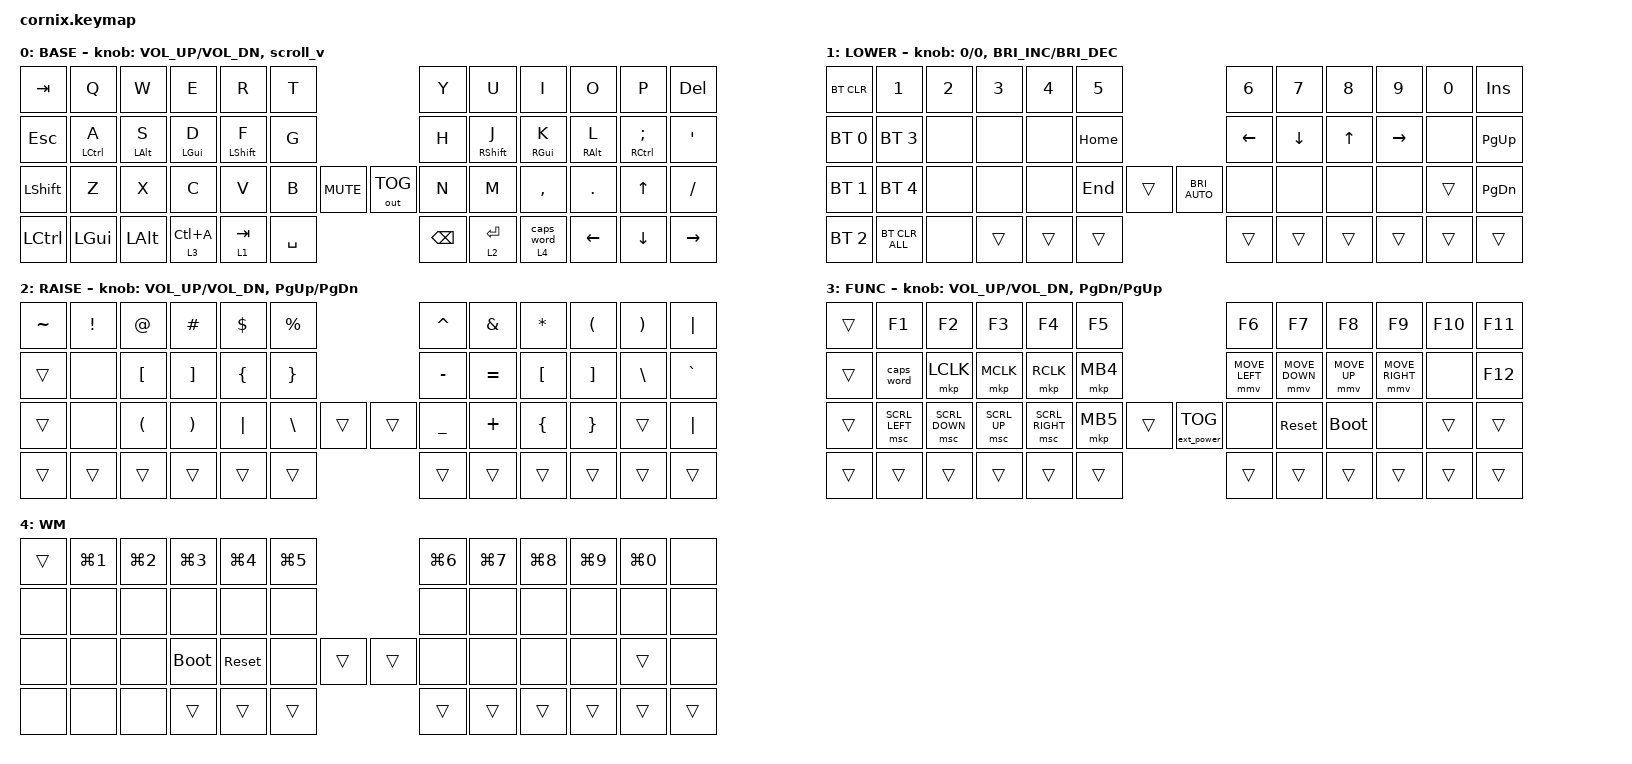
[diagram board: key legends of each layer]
/*
 * Copyright (c) 2020 The ZMK Contributors
 *
 * SPDX-License-Identifier: MIT
 */

#include "zmk-helpers/helper.h"
#include "includes/cornix54.h"

// tap windows for ctl alt and gui

#define HM_TAPPING_TERM 250
#define HM_TAPPING_REPEAT 210

// quick tapping for shift

#define HM_TAPPING_TERM_FAST 200
#define HM_PRIOR_IDLE 70
#define BASE 0
#define WIN 1
#define LOWER 2
#define RAISE 3
#define ADJUST 4
#define NAVI   5
#define NUM    6
#define DEBUG  7

// https://github.com/urob/zmk-config/tree/main#timeless-homerow-mods

#define KEYS_L LT0 LT1 LT2 LT3 LT4 LT5 LM0 LM1 LM2 LM3 LM4 LM5 LB0 LB1 LB2 LB3 LB4 LB5  // left hand
#define KEYS_R RT0 RT1 RT2 RT3 RT4 RT5 RM0 RM1 RM2 RM3 RM4 RM5 RB0 RB1 RB2 RB3 RB4 RB5  // right hand
#define THUMBS LH1 LH0 RH0 RH1
#define KEYS_T LH1 LH0 RH0 RH1
#define ZMK_POINTING_DEFAULT_SCRL_VAL 30
#define ZMK_POINTING_DEFAULT_MOVE_VAL 600

#include <behaviors.dtsi>
#include <dt-bindings/zmk/bt.h>
#include <dt-bindings/zmk/ext_power.h>
#include <dt-bindings/zmk/keys.h>
#include <dt-bindings/zmk/outputs.h>
#include <dt-bindings/zmk/pointing.h>

/ {
    // Activate ADJUST layer by pressing raise and lower

    behaviors {
        hm_l: homerow_mods_left {
            compatible = "zmk,behavior-hold-tap";
            #binding-cells = <2>;
            bindings = <&kp>, <&kp>;

            flavor = "balanced";
            tapping-term-ms = <HM_TAPPING_TERM>;
            quick-tap-ms = <150>;                // repeat on tap-into-hold
            require-prior-idle-ms = <HM_PRIOR_IDLE>;
            hold-trigger-key-positions = <KEYS_R KEYS_T>;
            hold-trigger-on-release;
        };

        hm_r: homerow_mods_right {
            compatible = "zmk,behavior-hold-tap";
            #binding-cells = <2>;
            bindings = <&kp>, <&kp>;

            flavor = "balanced";
            tapping-term-ms = <HM_TAPPING_TERM>;
            quick-tap-ms = <150>;
            require-prior-idle-ms = <HM_PRIOR_IDLE>;
            hold-trigger-key-positions = <KEYS_L KEYS_T>;
            hold-trigger-on-release;
        };

        // Positional Homerow mods for shift
        // Use faster tapping term and disable some features that may
        // cause false negatives.

        hm_shift_l: hm_shift_l {
            compatible = "zmk,behavior-hold-tap";
            #binding-cells = <2>;
            bindings = <&kp>, <&kp>;

            //flavor = "balanced";

            flavor = "balanced";
            tapping-term-ms = <HM_TAPPING_TERM_FAST>;
            quick-tap-ms = <150>;
            require-prior-idle-ms = <HM_PRIOR_IDLE>;
            hold-trigger-key-positions = <KEYS_R KEYS_T>;
            hold-trigger-on-release;
        };

        hm_shift_r: hm_shift_r {
            compatible = "zmk,behavior-hold-tap";
            #binding-cells = <2>;
            bindings = <&kp>, <&kp>;

            flavor = "balanced";
            tapping-term-ms = <HM_TAPPING_TERM_FAST>;
            quick-tap-ms = <150>;
            require-prior-idle-ms = <HM_PRIOR_IDLE>;
            hold-trigger-key-positions = <KEYS_L KEYS_T>;

            // for quick tapping; shift+~

            hold-trigger-on-release;
        };

        /*
         * Non-Positional Homerow Mods
         * Used for &mm_grescm_gui behavior on left hand.
         *
         * Usage: &hm LSHFT T
         * Tap: T
         * Tap-Tap-Hold: Repeat T
         * Hold: LSHIFT
         */

        hm: homerow_mods {
            compatible = "zmk,behavior-hold-tap";
            #binding-cells = <2>;
            bindings = <&kp>, <&kp>;

            flavor = "balanced";
            tapping-term-ms = <HM_TAPPING_TERM>;
            quick-tap-ms = <200>;
        };

        lt: layer_tap {
            compatible = "zmk,behavior-hold-tap";
            #binding-cells = <2>;
            bindings = <&mo>, <&kp>;

            flavor = "hold-preferred";
            tapping-term-ms = <HM_TAPPING_TERM>;
            quick-tap-ms = <200>;
        };

        caps_word: caps_word {
            compatible = "zmk,behavior-caps-word";
            #binding-cells = <0>;
            continue-list = <UNDERSCORE MINUS N1 N2 N3 N4 N5 N6 N7 N8 N9 N0>;
        };

        mo_capsword: mo_capsword {
            compatible = "zmk,behavior-hold-tap";
            #binding-cells = <2>;
            bindings = <&mo>, <&caps_word>;

            flavor = "hold-preferred";
            tapping-term-ms = <HM_TAPPING_TERM>;
            quick-tap-ms = <200>;
        };

        scroll_v: scroll_v {
            compatible = "zmk,behavior-sensor-rotate";
            #sensor-binding-cells = <0>;
            bindings = <&msc SCRL_UP>, <&msc SCRL_DOWN>;
        };
    };

    conditional_layers { compatible = "zmk,conditional-layers"; };

    combos {
        compatible = "zmk,combos";

        cb_ltm {
            bindings = <&kp ESC>;
            key-positions = <19 20>;
            layers = <0>;
        };

        cb_lm {
            bindings = <&kp TAB>;
            key-positions = <14 16>;
            layers = <0>;
        };

        cb_enter {
            bindings = <&kp RET>;
            key-positions = <21 19>;
            layers = <0>;
        };

    };

    keymap {
        compatible = "zmk,keymap";

        default_layer {
            display-name = "BASE";

            // ------------------------------------------------------------------------------------------------------------
            // |   `   |  1  |  2  |  3   |  4   |  5   |                   |  6   |  7    |  8    |  9   |   0   |       |
            // |  ESC  |  Q  |  W  |  E   |  R   |  T   |                   |  Y   |  U    |  I    |  O   |   P   | BKSPC |
            // |  TAB  |  A  |  S  |  D   |  F   |  G   |                   |  H   |  J    |  K    |  L   |   ;   |   '   |
            // | SHIFT |  Z  |  X  |  C   |  V   |  B   |  MUTE  |  |       |  N   |  M    |  ,    |  .   |   /   | SHIFT |
            //               | GUI | ALT  | CTRL | LOWER|  ENTER |  | SPACE | RAISE| CTRL  | ALT   | GUI  |

            bindings = <
&kp TAB         &kp Q          &kp W         &kp E             &kp R                &kp T                                &kp Y          &kp U                &kp I              &kp O           &kp P             &kp DELETE
&kp ESC         &hm_l LCTRL A  &hm_l LALT S  &hm_l LGUI D      &hm_shift_l LSHFT F  &kp G                                &kp H          &hm_shift_r RSHFT J  &hm_r RGUI K       &hm_r RALT L    &hm_r RCTRL SEMI  &kp SQT
&kp LEFT_SHIFT  &kp Z          &kp X         &kp C             &kp V                &kp B      &kp C_MUTE  &out OUT_TOG  &kp N          &kp M                &kp COMMA          &kp DOT         &kp UP_ARROW      &kp SLASH
&kp LCTRL       &kp LEFT_GUI   &kp LEFT_ALT  &lt 3 LC(A)       &lt 1 TAB            &kp SPACE                            &kp BACKSPACE  &lt 2 ENTER          &mo_capsword 4 0   &kp LEFT_ARROW  &kp DOWN_ARROW    &kp RIGHT
            >;

            sensor-bindings =
                <&inc_dec_kp C_VOL_UP C_VOL_DN>,
                <&scroll_v>;
        };

        lower_layer {
            display-name = "LOWER";

            // ----------------------------------------------------------------------------------------------------------------------------
            // | BTCLR  |  BT1    |  BT2    |   BT3   |   BT4   |   BT5   |                  |      |      |       |      |       |       |
            // | moDEBUG| RGB_HUD | RGB_HUI | RGB_SAD | RGB_SAI | RGB_EFF |                  |      |      |       |      |       |       |
            // | EXTPWR | RGB_BRD | RGB_BRI |         |         |         |                  |      |      |       |      |       |       |
            // |        |         |         |         |         |         | RGB_TOG | |      |      |      |       |      |       |       |
            //                    |         |         |         |         |         | |      |      |      |       |      |

            bindings = <
&bt BT_CLR    &kp NUMBER_1    &kp NUMBER_2  &kp NUMBER_3  &kp NUMBER_4  &kp NUMBER_5                                 &kp NUMBER_6    &kp NUMBER_7  &kp NUMBER_8  &kp N9     &kp NUMBER_0  &kp INSERT
&bt BT_SEL 0  &bt BT_SEL 3    &none         &none         &none         &kp HOME                                     &kp LEFT_ARROW  &kp DOWN      &kp UP_ARROW  &kp RIGHT  &none         &kp PG_UP
&bt BT_SEL 1  &bt BT_SEL 4    &none         &none         &none         &kp END       &trans  &kp C_BRIGHTNESS_AUTO  &none           &none         &none         &none      &trans        &kp PG_DN
&bt BT_SEL 2  &bt BT_CLR_ALL  &none         &trans        &trans        &trans                                       &trans          &trans        &trans        &trans     &trans        &trans
            >;

            sensor-bindings =
                <&inc_dec_kp 0 0>,
                <&inc_dec_kp C_BRIGHTNESS_INC C_BRIGHTNESS_DEC>;
        };

        raise_layer {
            display-name = "RAISE";

            // TODO: Some binds are waiting for shifted keycode support.
            // -------------------------------
            // |       |  F1 |  F2 |  F3  |  F4  |  F5  |                   |  F6  |  F7   |  F8   |  F9  |  F10  |  F11  |
            // |   `   |  1  |  2  |  3   |  4   |  5   |                   |  6   |  7    |  8    |  9   |   0   |  F12  |
            // |       |  !  |  @  |  #   |  $   |  %   |                   |  ^   |  &    |  *    |  (   |   )   |   |   |
            // |       |  =  |  -  |  +   |  {   |  }   |        |  |       |  [   |  ]    |  ;    |  :   |   \   |       |
            //               |     |      |      |      |        |  |       |      |       |       |      |

            bindings = <
&kp TILDE  &kp EXCL  &kp AT                &kp HASH  &kp DLLR  &kp PRCNT                  &kp CARET       &kp AMPS   &kp ASTRK         &kp LPAR           &kp RPAR  &kp PIPE
&trans     &none     &kp LBKT              &kp RBKT  &kp LBRC  &kp RBRC                   &kp MINUS       &kp EQUAL  &kp LEFT_BRACKET  &kp RIGHT_BRACKET  &kp BSLH  &kp GRAVE
&trans     &none     &kp LEFT_PARENTHESIS  &kp RPAR  &kp PIPE  &kp BSLH   &trans  &trans  &kp UNDERSCORE  &kp PLUS   &kp LEFT_BRACE    &kp RIGHT_BRACE    &trans    &kp PIPE
&trans     &trans    &trans                &trans    &trans    &trans                     &trans          &trans     &trans            &trans             &trans    &trans
            >;

            sensor-bindings = <&inc_dec_kp C_VOL_UP C_VOL_DN &inc_dec_kp PG_UP PG_DN>;
        };

        fn_layer {
            display-name = "FUNC";

            // ------------------------------------------------------------------------------------------------------------
            // | BTCLR | BT1  | BT2  |  BT3  |  BT4  |  BT5 |                |      |      |       |      |       |       |
            // |       | INS  | PSCR | GUI   |       |      |                | PGUP |      |   ^   |      |       |       |
            // |       | ALT  | CTRL | SHIFT |       | CAPS |                | PGDN |   <- |   v   |  ->  |  DEL  | BKSPC |
            // |       | UNDO | CUT  | COPY  | PASTE |      |      |  |      |      |      |       |      |       |       |
            //                |      |       |       |      |      |  |      |      |      |       |      |

            bindings = <
&trans  &kp F1  &kp F2     &kp F3     &kp F4     &kp F5                               &kp F6          &kp F7          &kp F8        &kp F9           &kp F10  &kp F11
&trans  &caps_word   &mkp LCLK  &mkp MCLK  &mkp RCLK  &mkp MB4                             &mmv MOVE_LEFT  &mmv MOVE_DOWN  &mmv MOVE_UP  &mmv MOVE_RIGHT  &none    &kp F12
&trans  &msc SCRL_LEFT   &msc SCRL_DOWN      &msc SCRL_UP      &msc SCRL_RIGHT      &mkp MB5  &trans  &ext_power EP_TOG  &none           &sys_reset      &bootloader   &none            &trans   &trans
&trans  &trans  &trans     &trans     &trans     &trans                               &trans          &trans          &trans        &trans           &trans   &trans
            >;

            sensor-bindings = <&inc_dec_kp C_VOL_UP C_VOL_DN &inc_dec_kp PG_DN PG_UP>;
        };

        numpad_layer {
            display-name = "WM";
            bindings = <
&trans  &kp LG(N1)  &kp LG(N2)    &kp LG(N3)    &kp LG(N4)    &kp LG(N5)               &kp LG(N6)  &kp LG(N7)  &kp LG(N8)  &kp LG(N9)  &kp LG(N0)  &none
&none   &none  &none         &none         &none         &none                    &none       &none       &none       &none       &none       &none
&none   &none  &none         &bootloader   &sys_reset    &none    &trans  &trans  &none       &none       &none       &none       &trans      &none
&none   &none  &none         &trans        &trans        &trans                   &trans      &trans      &trans      &trans      &trans      &trans
            >;
        };
    };
};

&mmv {
    time-to-max-speed-ms = <300>;
    acceleration-exponent = <1>;
};

&msc {
    time-to-max-speed-ms = <300>;
    acceleration-exponent = <1>;
};
